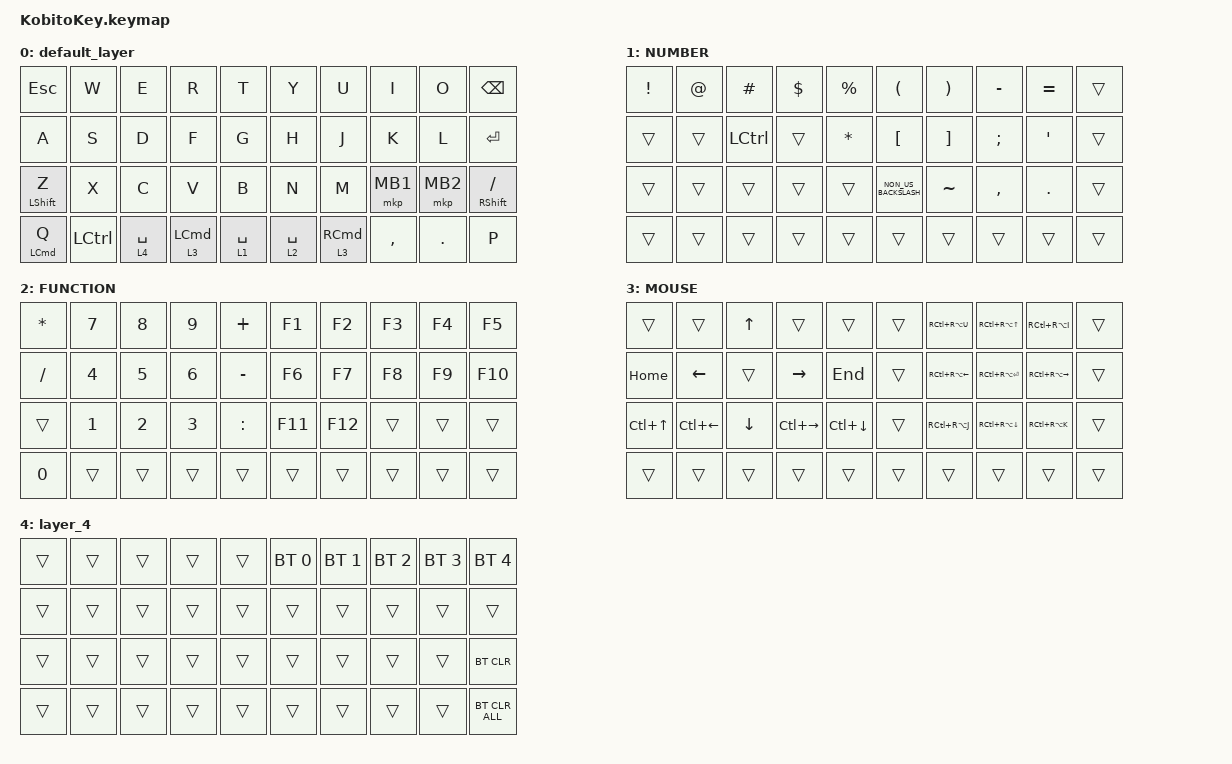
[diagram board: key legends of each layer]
#include <input/processors.dtsi>
#include <behaviors.dtsi>
#include <dt-bindings/zmk/bt.h>
#include <dt-bindings/zmk/keys.h>
#include <dt-bindings/zmk/pointing.h>

/ {
    combos {
        compatible = "zmk,combos";

        combo_eisu {
            timeout-ms = <50>;
            key-positions = <12 13>;
            bindings = <&kp LANG2>;
        };

        combo_kana {
            timeout-ms = <50>;
            key-positions = <16 17>;
            bindings = <&kp LANG1>;
        };

        combo_esc {
            timeout-ms = <50>;
            key-positions = <0 1>;
            bindings = <&kp ESC>;
        };

        combo_tab {
            timeout-ms = <50>;
            key-positions = <10 11>;
            bindings = <&kp TAB>;
        };
    };

    keymap {
        compatible = "zmk,keymap";

        default_layer {
            bindings = <
&kp ESCAPE          &kp W             &kp E        &kp R               &kp T        &kp Y        &kp U                &kp I      &kp O     &kp BACKSPACE
&kp A               &kp S             &kp D        &kp F               &kp G        &kp H        &kp J                &kp K      &kp L     &kp ENTER
&mt LEFT_SHIFT Z    &kp X             &kp C        &kp V               &kp B        &kp N        &kp M                &mkp MB1   &mkp MB2  &mt RIGHT_SHIFT SLASH
&mt LEFT_COMMAND Q  &kp LEFT_CONTROL  &lt 4 SPACE  &lt 3 LEFT_COMMAND  &lt 1 SPACE  &lt 2 SPACE  &lt 3 RIGHT_COMMAND  &kp COMMA  &kp DOT   &kp P
            >;
        };

        layer1 {
            label = "NUMBER";
            bindings = <
&kp EXCLAMATION  &kp AT_SIGN  &kp HASH          &kp DOLLAR  &kp PERCENT   &kp LEFT_PARENTHESIS  &kp RIGHT_PARENTHESIS  &kp MINUS      &kp EQUAL   &trans
&trans           &trans       &kp LEFT_CONTROL  &trans      &kp ASTERISK  &kp LEFT_BRACKET      &kp RIGHT_BRACKET      &kp SEMICOLON  &kp SQT     &trans
&trans           &trans       &trans            &trans      &trans        &kp NON_US_BACKSLASH  &kp TILDE              &kp COMMA      &kp PERIOD  &trans
&trans           &trans       &trans            &trans      &trans        &trans                &trans                 &trans         &trans      &trans
            >;
        };

        layer2 {
            label = "FUNCTION";
            bindings = <
&kp ASTERISK  &kp N7        &kp N8        &kp N9        &kp PLUS   &kp F1   &kp F2   &kp F3  &kp F4  &kp F5
&kp SLASH     &kp NUMBER_4  &kp N5        &kp NUMBER_6  &kp MINUS  &kp F6   &kp F7   &kp F8  &kp F9  &kp F10
&trans        &kp NUMBER_1  &kp NUMBER_2  &kp NUMBER_3  &kp COLON  &kp F11  &kp F12  &trans  &trans  &trans
&kp N0        &trans        &trans        &trans        &trans     &trans   &trans   &trans  &trans  &trans
            >;
        };

        layer3 {
            label = "MOUSE";
            bindings = <
&trans      &trans          &kp UP_ARROW    &trans           &trans        &trans  &kp RC(RA(U))           &kp RC(RA(UP_ARROW))    &kp RC(RA(I))            &trans
&kp HOME    &kp LEFT_ARROW  &trans          &kp RIGHT_ARROW  &kp END       &trans  &kp RC(RA(LEFT_ARROW))  &kp RC(RA(ENTER))       &kp RC(RA(RIGHT_ARROW))  &trans
&kp LC(UP)  &kp LC(LEFT)    &kp DOWN_ARROW  &kp LC(RIGHT)    &kp LC(DOWN)  &trans  &kp RC(RA(J))           &kp RC(RA(DOWN_ARROW))  &kp RC(RA(K))            &trans
&trans      &trans          &trans          &trans           &trans        &trans  &trans                  &trans                  &trans                   &trans
            >;
        };

        layer_4 {
            bindings = <
&trans  &trans  &trans  &trans  &trans  &bt BT_SEL 0  &bt BT_SEL 1  &bt BT_SEL 2  &bt BT_SEL 3  &bt BT_SEL 4
&trans  &trans  &trans  &trans  &trans  &trans        &trans        &trans        &trans        &trans
&trans  &trans  &trans  &trans  &trans  &trans        &trans        &trans        &trans        &bt BT_CLR
&trans  &trans  &trans  &trans  &trans  &trans        &trans        &trans        &trans        &bt BT_CLR_ALL
            >;
        };
    };
};
